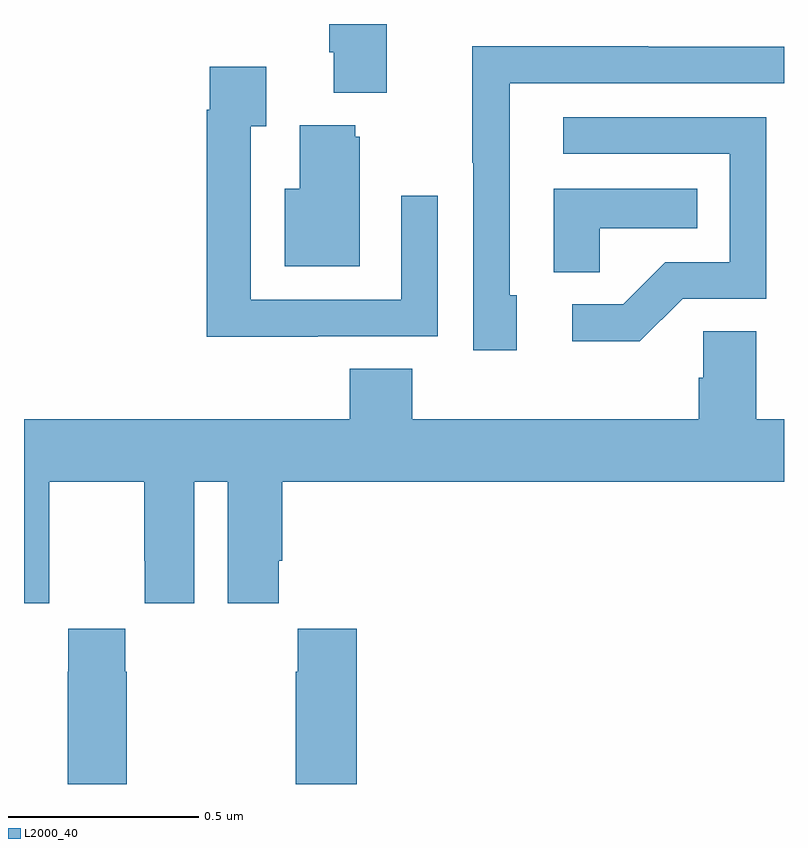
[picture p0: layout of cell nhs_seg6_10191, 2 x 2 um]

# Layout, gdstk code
import gdstk
lib = gdstk.Library(unit=1e-6, precision=1e-09)
def P(c, l, *ps):  # polygons
    for p in ps: c.add(gdstk.Polygon(p, *l))
L2000_40 = (2000, 40)

nhs_seg6_10191 = lib.new_cell('nhs_seg6_10191')
P(nhs_seg6_10191, L2000_40, [(243.955,988.5),(243.803,988.5),(243.803,988.426),(243.815,988.426),(243.815,988.319),(243.955,988.319)],
  [(244.297,987.786),(244.278,987.786),(244.278,988.344),(245,988.344),(245,988.44),(244.643,988.44),(244.643,988.442),(244.18,988.442),(244.18,988.135),(244.182,988.135),(244.182,987.642),(244.297,987.642)],
  [(243.773,987.678),(244.089,987.678),(244.089,988.048),(243.993,988.048),(243.993,987.774),(243.597,987.774),(243.597,988.231),(243.637,988.231),(243.637,988.387),(243.489,988.387),(243.489,988.274),(243.481,988.274),(243.481,987.677),(243.773,987.677)],
  [(244.734,987.777),(244.953,987.777),(244.953,988.254),(244.419,988.254),(244.419,988.158),(244.857,988.158),(244.857,987.873),(244.688,987.873),(244.577,987.762),(244.443,987.762),(244.443,987.665),(244.621,987.665)],
  [(243.883,988.203),(243.872,988.203),(243.872,988.234),(243.725,988.234),(243.725,988.066),(243.686,988.066),(243.686,987.863),(243.883,987.863)],
  [(244.515,987.962),(244.772,987.962),(244.772,988.066),(244.394,988.066),(244.394,987.847),(244.515,987.847)],
  [(245,987.46),(244.927,987.46),(244.927,987.692),(244.788,987.692),(244.788,987.569),(244.775,987.569),(244.775,987.46),(244.022,987.46),(244.022,987.593),(243.857,987.593),(243.857,987.46),(243,987.46),(243,986.976),(243.066,986.976),(243.066,987.088),(243.067,987.088),(243.067,987.296),(243.317,987.296),(243.317,987.088),(243.318,987.088),(243.318,986.976),(243.448,986.976),(243.448,987.296),(243.536,987.296),(243.536,986.976),(243.67,986.976),(243.67,987.088),(243.68,987.088),(243.68,987.296),(245,987.296)],
  [(243.27,986.795),(243.267,986.795),(243.267,986.908),(243.117,986.908),(243.117,986.795),(243.115,986.795),(243.115,986.5),(243.27,986.5)],
  [(243.875,986.908),(243.721,986.908),(243.721,986.795),(243.715,986.795),(243.715,986.5),(243.875,986.5)])

lib.write_gds('nhs_seg6_10191.gds')
